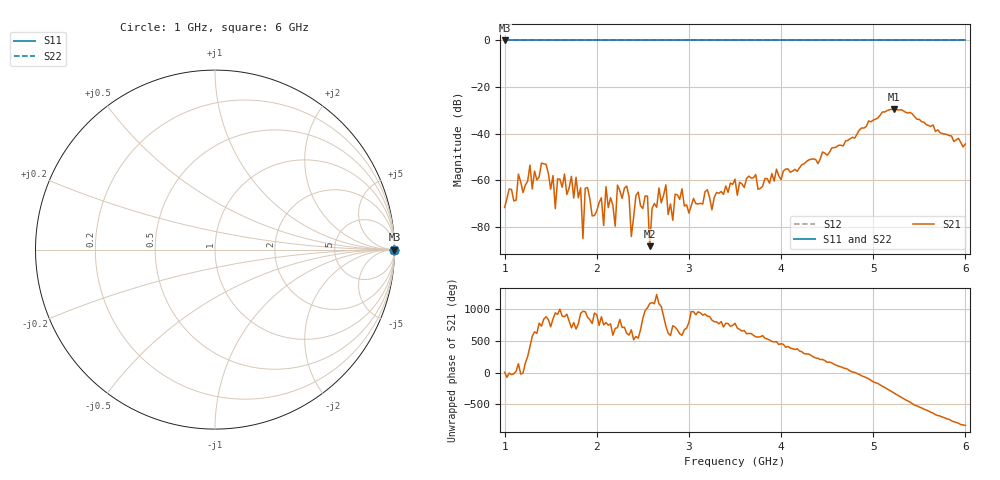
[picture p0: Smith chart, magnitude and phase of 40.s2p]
!Keysight Technologies N9926A: A.08.19
!Date: Sunday, 01 March 2026 13:31:31
!Timezone: (GMT-06:00) Central Time (US & Canada)
!Model: N9926A
!Serial: MY53102721
!GPS Latitude:
!GPS Longitude:
!GPS TimeStamp: 0001-01-01 00:00:00Z
!GPS Seconds Since Last Read: 0
!CHECKSUM:2111059395
!Correction: S11()S21(ON U)S12()S22()
!S2P File: Measurements:S11,S21,S12,S22:
# Hz S DB R 50
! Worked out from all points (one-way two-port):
!   201 points, 1 GHz to 6 GHz, reference 50 ohm
!   highest |S21| = -29.36 dB at 5.225 GHz (marker M1); lowest = -88.2 dB at 2.575 GHz (marker M2)
!   lowest |S11| = 0.0 dB at 1 GHz (marker M3)
!   |S11| at or under -10 dB: nowhere
!   |S22| runs from 0.0 to 0.0 dB; largest |S21 - S12| = 1
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1e9  0.00 0.0  -71.65 6.3  0.00 0.0  0.00 0.0
1.4e9  0.00 0.0  -52.57 16.3  0.00 0.0  0.00 0.0
1.55e9  0.00 0.0  -72.10 -135.0  0.00 0.0  0.00 0.0
1.575e9  0.00 0.0  -59.34 -157.4  0.00 0.0  0.00 0.0
1.775e9  0.00 0.0  -58.65 -29.8  0.00 0.0  0.00 0.0
1.85e9  0.00 0.0  -84.91 -108.8  0.00 0.0  0.00 0.0
1.9e9  0.00 0.0  -63.11 159.0  0.00 0.0  0.00 0.0
2.075e9  0.00 0.0  -79.35 34.5  0.00 0.0  0.00 0.0
2.1e9  0.00 0.0  -62.66 72.8  0.00 0.0  0.00 0.0
2.2e9  0.00 0.0  -79.62 -20.9  0.00 0.0  0.00 0.0
2.225e9  0.00 0.0  -62.00 -7.2  0.00 0.0  0.00 0.0
2.325e9  0.00 0.0  -62.43 -97.7  0.00 0.0  0.00 0.0
2.375e9  0.00 0.0  -84.03 -43.9  0.00 0.0  0.00 0.0
2.55e9  0.00 0.0  -66.76 -55.6  0.00 0.0  0.00 0.0
2.575e9  0.00 0.0  -88.19 13.8  0.00 0.0  0.00 0.0
2.675e9  0.00 0.0  -63.21 10.2  0.00 0.0  0.00 0.0
2.825e9  0.00 0.0  -77.10 21.8  0.00 0.0  0.00 0.0
3.5e9  0.00 0.0  -59.45 60.3  0.00 0.0  0.00 0.0
4.35e9  0.00 0.0  -50.80 -109.9  0.00 0.0  0.00 0.0
5.175e9  0.00 0.0  -29.71 77.1  0.00 0.0  0.00 0.0
5.225e9  0.00 0.0  -29.36 33.7  0.00 0.0  0.00 0.0
6e9  0.00 0.0  -44.38 -119.0  0.00 0.0  0.00 0.0
